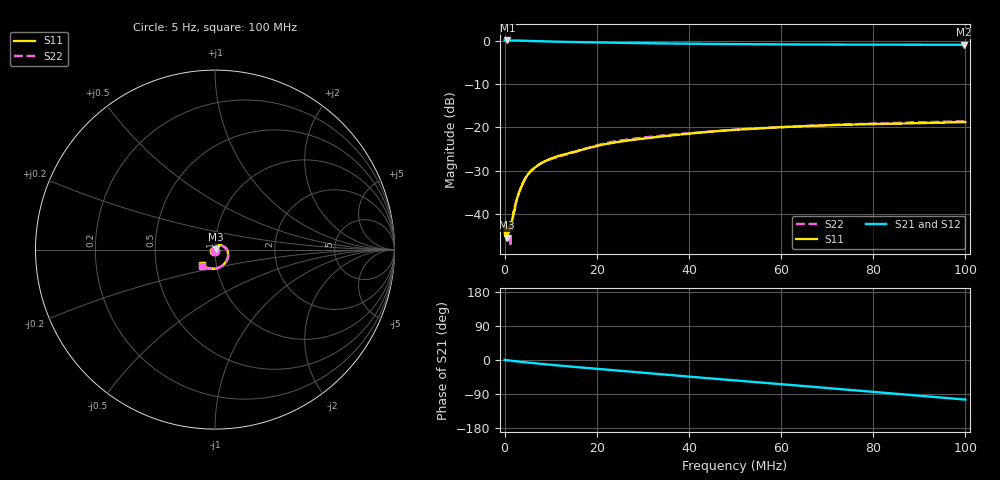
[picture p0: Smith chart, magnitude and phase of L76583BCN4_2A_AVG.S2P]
!Agilent Technologies,E5061B,MY49102235,A.02.00
!Date: Tue Jul 11 17:02:03 2023
!Data & Calibration Information:
!Freq	S11:SOLT2(ON)	S21:SOLT2(ON)	S12:SOLT2(ON)	S22:SOLT2(ON)
# Hz S RI R 50
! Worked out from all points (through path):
!   1600 points, 5 Hz to 100 MHz, reference 50 ohm
!   highest |S21| = 0.02 dB at 625.4 kHz (marker M1); lowest = -1.0 dB at 99.75 MHz (marker M2)
!   group delay of S21, straight-line fit = 2.83 ns
!   lowest |S11| = -45.4 dB at 500.3 kHz (marker M3), VSWR 1.01, Z = 50.5 + j0.257 ohm
!   |S11| at or under -10 dB: start of sweep to end of sweep
!   |S22| runs from -47.4 to -18.6 dB; largest |S21 - S12| = 0.0026
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5  -0.00517 -0.00566  1.002 0.008  1.001 0.0102  -0.00146 -0.00756
500317.7  0.00472 0.00255  1.001 -0.0108  1.002 -0.0106  0.00494 0.000972
625395.8  0.0053 0.00312  1.002 -0.0142  1.002 -0.0138  0.0063 0.00275
1000630  0.00409 0.0052  1.001 -0.0225  1.001 -0.0219  0.00545 0.00427
1313326  0.00498 0.00565  1.001 -0.0293  1.001 -0.0294  0.00318 0.00409
1688560  0.0046 0.00746  0.9997 -0.0395  1 -0.0395  0.00432 0.00662
1938717  0.00411 0.00947  1.001 -0.0456  1 -0.045  0.00442 0.00972
2251412  0.0046 0.0106  0.9991 -0.054  0.9989 -0.0527  0.00507 0.0113
2814264  0.00681 0.0143  0.9964 -0.0674  0.9965 -0.0665  0.00585 0.0145
3439655  0.0089 0.0175  0.9942 -0.082  0.9943 -0.0819  0.00779 0.0179
4190124  0.012 0.021  0.9902 -0.0999  0.9899 -0.0995  0.0113 0.0212
5378366  0.0182 0.0239  0.9821 -0.1254  0.9819 -0.1253  0.0176 0.0242
7504695  0.0275 0.025  0.9674 -0.1669  0.9671 -0.1668  0.0273 0.0257
9443407  0.0348 0.024  0.9539 -0.2023  0.9537 -0.2022  0.0343 0.024
1.669794e7  0.053 0.0144  0.9006 -0.3247  0.9003 -0.3244  0.0528 0.0143
2.345216e7  0.0662 0.000529  0.8415 -0.4282  0.8413 -0.4278  0.0681 -0.000605
3.333334e7  0.0726 -0.0277  0.74 -0.56  0.7399 -0.5596  0.0739 -0.0289
5.003127e7  0.0563 -0.0746  0.5361 -0.7349  0.536 -0.7346  0.0562 -0.0755
6.672921e7  0.0131 -0.1032  0.2997 -0.8489  0.2999 -0.8487  0.0138 -0.1035
8.33646e7  -0.0331 -0.1047  0.0415 -0.8954  0.0415 -0.8954  -0.0329 -0.1067
9.974984e7  -0.0735 -0.0883  -0.2197 -0.8665  -0.2193 -0.8665  -0.0735 -0.0912
1e8  -0.074 -0.088  -0.2236 -0.8656  -0.2234 -0.8656  -0.0742 -0.0908
